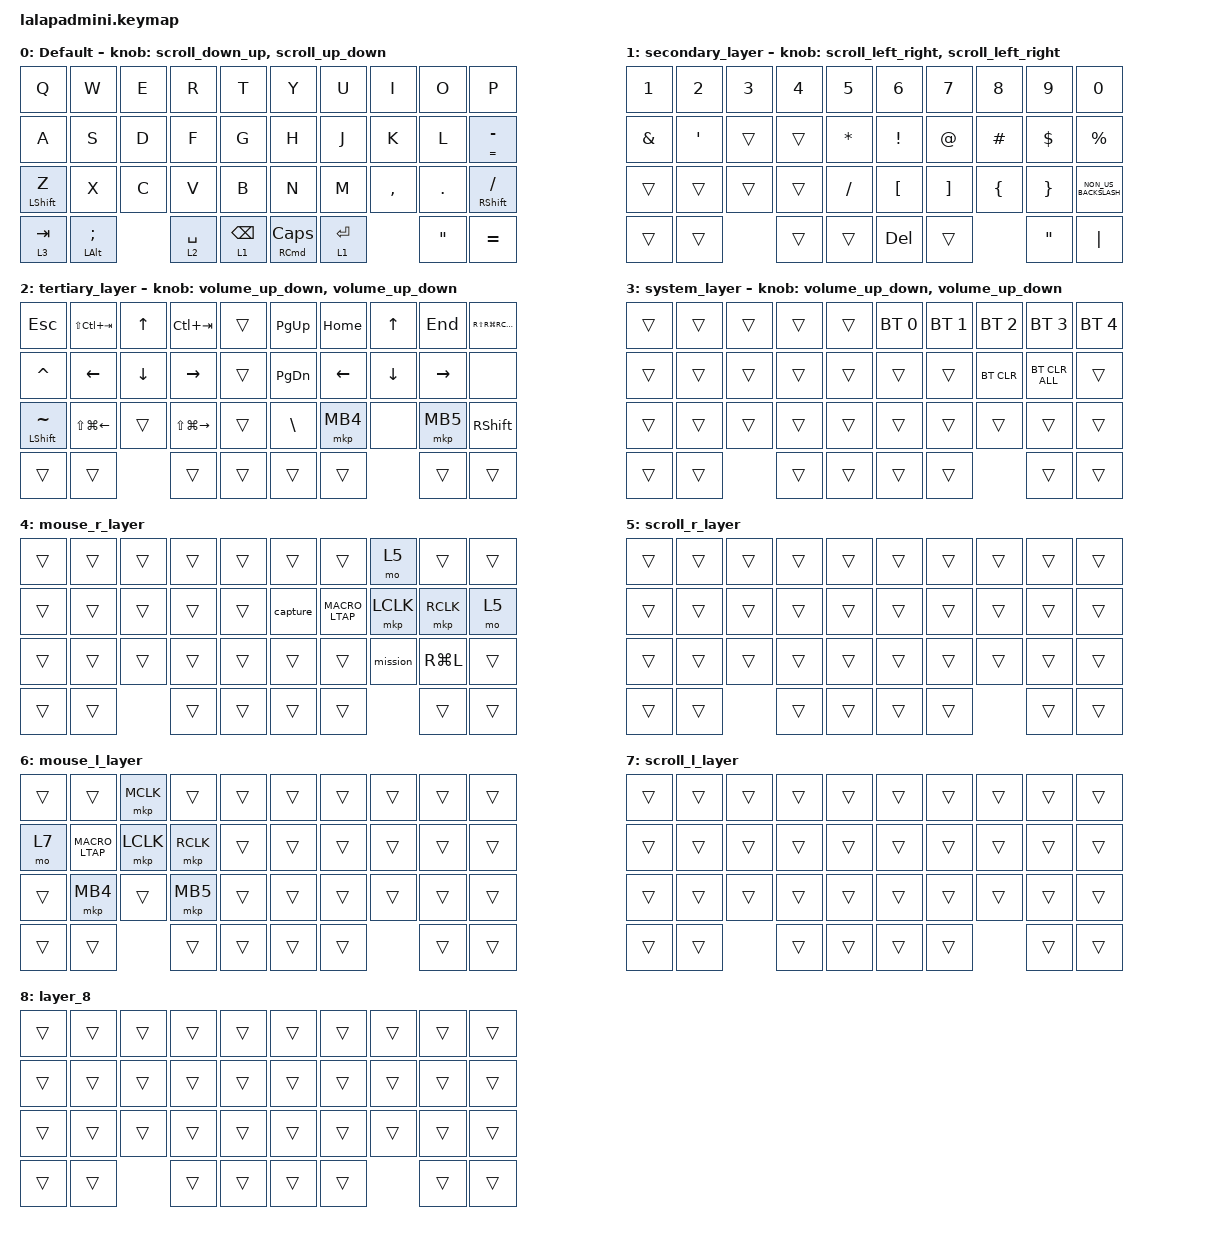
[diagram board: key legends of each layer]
#include <input/processors.dtsi>
#include <behaviors.dtsi>
#include <dt-bindings/zmk/bt.h>
#include <dt-bindings/zmk/keys.h>
#include <dt-bindings/zmk/pointing.h>

#define DEFAULT_LAYER   0
#define SECONDARY_LAYER 1
#define TERTIARY_LAYER  2
#define SYSTEM_LAYER    3
#define MOUSE_R_LAYER   4
#define SCROLL_R_LAYER  5
#define MOUSE_L_LAYER   6
#define SCROLL_L_LAYER  7

// Mouse Scroll Value

#define ZMK_POINTING_DEFAULT_SCRL_VAL 100

// cirque trackpad input&layer control

&glidepoint_listener_R {
    input-processors =
        <&zip_xy_transform (INPUT_TRANSFORM_XY_SWAP | INPUT_TRANSFORM_X_INVERT | INPUT_TRANSFORM_Y_INVERT)>,
        <&zip_xy_scaler 8 4>,
        <&zip_temp_layer MOUSE_R_LAYER 300>;

    lowspeedmode {
        layers = <SECONDARY_LAYER>;
        input-processors =
            <&zip_xy_transform (INPUT_TRANSFORM_XY_SWAP | INPUT_TRANSFORM_X_INVERT | INPUT_TRANSFORM_Y_INVERT)>,
            <&zip_xy_scaler 3 5>,
            <&zip_temp_layer MOUSE_R_LAYER 300>;
    };

    scroller {
        layers = <SCROLL_R_LAYER>;
        input-processors =
            <&zip_xy_to_scroll_mapper>,
            <&zip_scroll_transform (INPUT_TRANSFORM_XY_SWAP | INPUT_TRANSFORM_Y_INVERT)>,
            <&zip_scroll_scaler 1 24>;
    };
};

&glidepoint_listener_L {
    input-processors =
        <&zip_xy_transform (INPUT_TRANSFORM_XY_SWAP | INPUT_TRANSFORM_X_INVERT | INPUT_TRANSFORM_Y_INVERT)>,
        <&zip_xy_scaler 3 2>,
        <&zip_temp_layer MOUSE_L_LAYER 300>;

    lowspeedmode {
        layers = <TERTIARY_LAYER>;
        input-processors =
            <&zip_xy_transform (INPUT_TRANSFORM_XY_SWAP | INPUT_TRANSFORM_X_INVERT | INPUT_TRANSFORM_Y_INVERT)>,
            <&zip_xy_scaler 3 4>,
            <&zip_temp_layer MOUSE_L_LAYER 300>;
    };

    scroller {
        layers = <SCROLL_L_LAYER>;
        input-processors =
            <&zip_xy_to_scroll_mapper>,
            <&zip_scroll_transform (INPUT_TRANSFORM_XY_SWAP | INPUT_TRANSFORM_Y_INVERT)>,
            <&zip_scroll_scaler 1 32>;
    };
};

&mt { quick-tap-ms = <200>; };

&lt { quick-tap-ms = <200>; };

/ {
    behaviors {
        // Encoder to Mouse Scroll

        scroll_up_down: behavior_sensor_rotate_mouse_wheel_up_down {
            compatible = "zmk,behavior-sensor-rotate";
            #sensor-binding-cells = <0>;
            bindings = <&msc SCRL_UP>, <&msc SCRL_DOWN>;

            tap-ms = <20>;
        };

        scroll_down_up: behavior_sensor_rotate_mouse_wheel_down_up {
            compatible = "zmk,behavior-sensor-rotate";
            #sensor-binding-cells = <0>;
            bindings = <&msc SCRL_DOWN>, <&msc SCRL_UP>;

            tap-ms = <20>;
        };

        scroll_left_right: behavior_sensor_rotate_mouse_wheel_left_right {
            compatible = "zmk,behavior-sensor-rotate";
            #sensor-binding-cells = <0>;
            bindings = <&msc SCRL_LEFT>, <&msc SCRL_RIGHT>;

            tap-ms = <20>;
        };

        scroll_right_left: behavior_sensor_rotate_mouse_wheel_right_left {
            compatible = "zmk,behavior-sensor-rotate";
            #sensor-binding-cells = <0>;
            bindings = <&msc SCRL_RIGHT>, <&msc SCRL_LEFT>;

            tap-ms = <20>;
        };

        volume_up_down: behavior_sensor_rotate_volume_up_down {
            compatible = "zmk,behavior-sensor-rotate";
            #sensor-binding-cells = <0>;
            bindings = <&kp C_VOLUME_UP>, <&kp C_VOLUME_DOWN>;

            tap-ms = <20>;
        };

        mt2: mod_tap2 {
            compatible = "zmk,behavior-hold-tap";
            #binding-cells = <2>;
            flavor = "tap-preferred";
            tapping-term-ms = <200>;
            quick-tap-ms = <200>;
            require-prior-idle-ms = <125>;
            bindings = <&kp>, <&kp>;
        };

        tap_dance_layer_1and2: tap_dance_layer_1and2 {
            compatible = "zmk,behavior-tap-dance";
            label = "td_mo12";
            #binding-cells = <0>;
            bindings = <&mo 2>, <&mo 3>;
        };
    };

    combos {
        compatible = "zmk,combos";

        CONBO_ESC {
            bindings = <&kp ESCAPE>;
            key-positions = <0 1>;
        };

        COMBO_TAB {
            bindings = <&kp TAB>;
            key-positions = <10 11>;
        };

        combo_semi_colon {
            bindings = <&none>;
            key-positions = <15 16>;
        };

        combo_single_quote {
            bindings = <&kp SINGLE_QUOTE>;
            key-positions = <18 17>;
        };

        combo_left {
            bindings = <&kp LEFT_PARENTHESIS>;
            key-positions = <12 13>;
        };

        combo_right {
            bindings = <&kp RIGHT_PARENTHESIS>;
            key-positions = <13 14>;
        };

        l_disp {
            bindings = <&kp LA(LC(D))>;
            key-positions = <20 21>;
        };

        center_disp {
            bindings = <&kp LA(LC(F))>;
            key-positions = <21 22>;
        };

        right_disp {
            bindings = <&kp LA(LC(G))>;
            key-positions = <22 23>;
        };

        full_disp {
            bindings = <&kp LA(LC(ENTER))>;
            key-positions = <23 24>;
        };

        l_com {
            bindings = <&kp LEFT_WIN>;
            key-positions = <30 31>;
        };
    };

    macros {
        MACRO_LTAP: MACRO_LTAP {
            compatible = "zmk,behavior-macro";
            #binding-cells = <0>;
            bindings = <&mkp LCLK>;
            label = "MACRO_LTAP";
        };

        mission: mission {
            compatible = "zmk,behavior-macro";
            #binding-cells = <0>;
            bindings = <&kp LC(UP_ARROW)>, <&macro_press>;

            label = "MISSION";
        };

        launchpad: launchpad {
            compatible = "zmk,behavior-macro";
            #binding-cells = <0>;
            bindings = <&kp LA(LG(L))>;
            label = "LAUNCHPAD";
        };

        capture: capture {
            compatible = "zmk,behavior-macro";
            #binding-cells = <0>;
            bindings = <&kp LG(LS(N5))>, <&macro_press>;

            label = "CAPTURE";
        };

        spot_app: spot_app {
            compatible = "zmk,behavior-macro";
            #binding-cells = <0>;
            bindings = <&kp RG(SPACE)>;
            label = "SPOT_APP";
        };
    };

    keymap {
        compatible = "zmk,keymap";

        DEFAULT_LAYER {
            display-name = "Default";
            sensor-bindings = <&scroll_down_up>, <&scroll_up_down>;

            bindings = <
&kp Q             &kp W              &kp E  &kp R        &kp T            &kp Y                       &kp U        &kp I      &kp O              &kp P
&kp A             &kp S              &kp D  &kp F        &kp G            &kp H                       &kp J        &kp K      &kp L              &mt2 EQUAL MINUS
&mt LEFT_SHIFT Z  &kp X              &kp C  &kp V        &kp B            &kp N                       &kp M        &kp COMMA  &kp PERIOD         &mt RSHIFT SLASH
&lt 3 TAB         &mt LEFT_ALT SEMI         &lt 2 SPACE  &lt 1 BACKSPACE  &mt RIGHT_COMMAND CAPSLOCK  &lt 1 ENTER             &kp DOUBLE_QUOTES  &kp EQUAL
            >;
        };

        SECONDARY_LAYER {
            display-name = "secondary_layer";
            sensor-bindings = <&scroll_left_right>, <&scroll_left_right>;

            bindings = <
&kp NUMBER_1   &kp NUMBER_2      &kp NUMBER_3  &kp NUMBER_4  &kp N5        &kp NUMBER_6      &kp N7             &kp N8          &kp N9             &kp N0
&kp AMPERSAND  &kp SINGLE_QUOTE  &trans        &trans        &kp ASTERISK  &kp EXCLAMATION   &kp AT_SIGN        &kp HASH        &kp DOLLAR         &kp PERCENT
&trans         &trans            &trans        &trans        &kp SLASH     &kp LEFT_BRACKET  &kp RIGHT_BRACKET  &kp LEFT_BRACE  &kp RIGHT_BRACE    &kp NON_US_BACKSLASH
&trans         &trans                          &trans        &trans        &kp DELETE        &trans                             &kp DOUBLE_QUOTES  &kp PIPE
            >;
        };

        TERTIARY_LAYER {
            display-name = "tertiary_layer";
            bindings = <
&kp ESCAPE            &kp LS(LC(TAB))         &kp UP_ARROW  &kp LC(TAB)        &trans  &kp PAGE_UP    &kp HOME  &kp UP_ARROW  &kp END    &kp RS(RG(RC(NUMBER_3)))
&kp CARET             &kp LEFT_ARROW          &kp DOWN      &kp RIGHT          &trans  &kp PAGE_DOWN  &kp LEFT  &kp DOWN      &kp RIGHT  &none
&mt LEFT_SHIFT TILDE  &kp LS(LG(LEFT_ARROW))  &trans        &kp LS(LG(RIGHT))  &trans  &kp BACKSLASH  &mkp MB4  &none         &mkp MB5   &kp RIGHT_SHIFT
&trans                &trans                                &trans             &trans  &trans         &trans                  &trans     &trans
            >;

            sensor-bindings = <&volume_up_down>, <&volume_up_down>;
        };

        system_layer {
            display-name = "system_layer";
            sensor-bindings = <&volume_up_down>, <&volume_up_down>;

            bindings = <
&trans  &trans  &trans  &trans  &trans  &bt BT_SEL 0  &bt BT_SEL 1  &bt BT_SEL 2  &bt BT_SEL 3    &bt BT_SEL 4
&trans  &trans  &trans  &trans  &trans  &trans        &trans        &bt BT_CLR    &bt BT_CLR_ALL  &trans
&trans  &trans  &trans  &trans  &trans  &trans        &trans        &trans        &trans          &trans
&trans  &trans          &trans  &trans  &trans        &trans                      &trans          &trans
            >;
        };

        MOUSE_R_LAYER {
            display-name = "mouse_r_layer";
            bindings = <
&trans  &trans  &trans  &trans  &trans  &trans    &trans       &mo 5      &trans     &trans
&trans  &trans  &trans  &trans  &trans  &capture  &MACRO_LTAP  &mkp LCLK  &mkp RCLK  &mo 5
&trans  &trans  &trans  &trans  &trans  &trans    &trans       &mission   &kp RG(L)  &trans
&trans  &trans          &trans  &trans  &trans    &trans                  &trans     &trans
            >;
        };

        SCROLL_R_LAYER {
            display-name = "scroll_r_layer";
            bindings = <
&trans  &trans  &trans  &trans  &trans  &trans  &trans  &trans  &trans  &trans
&trans  &trans  &trans  &trans  &trans  &trans  &trans  &trans  &trans  &trans
&trans  &trans  &trans  &trans  &trans  &trans  &trans  &trans  &trans  &trans
&trans  &trans          &trans  &trans  &trans  &trans          &trans  &trans
            >;
        };

        MOUSE_L_LAYER {
            display-name = "mouse_l_layer";
            bindings = <
&trans  &trans       &mkp MCLK  &trans     &trans  &trans  &trans  &trans  &trans  &trans
&mo 7   &MACRO_LTAP  &mkp LCLK  &mkp RCLK  &trans  &trans  &trans  &trans  &trans  &trans
&trans  &mkp MB4     &trans     &mkp MB5   &trans  &trans  &trans  &trans  &trans  &trans
&trans  &trans                  &trans     &trans  &trans  &trans          &trans  &trans
            >;
        };

        SCROLL_L_LAYER {
            display-name = "scroll_l_layer";
            bindings = <
&trans  &trans  &trans  &trans  &trans  &trans  &trans  &trans  &trans  &trans
&trans  &trans  &trans  &trans  &trans  &trans  &trans  &trans  &trans  &trans
&trans  &trans  &trans  &trans  &trans  &trans  &trans  &trans  &trans  &trans
&trans  &trans          &trans  &trans  &trans  &trans          &trans  &trans
            >;
        };

        layer_8 {
            bindings = <
&trans  &trans  &trans  &trans  &trans  &trans  &trans  &trans  &trans  &trans
&trans  &trans  &trans  &trans  &trans  &trans  &trans  &trans  &trans  &trans
&trans  &trans  &trans  &trans  &trans  &trans  &trans  &trans  &trans  &trans
&trans  &trans          &trans  &trans  &trans  &trans          &trans  &trans
            >;
        };
    };

    conditional_layers {
        compatible = "zmk,conditional-layers";

        System_layer {
            if-layers = <2 3>;
            then-layer = <3>;
        };
    };
};
